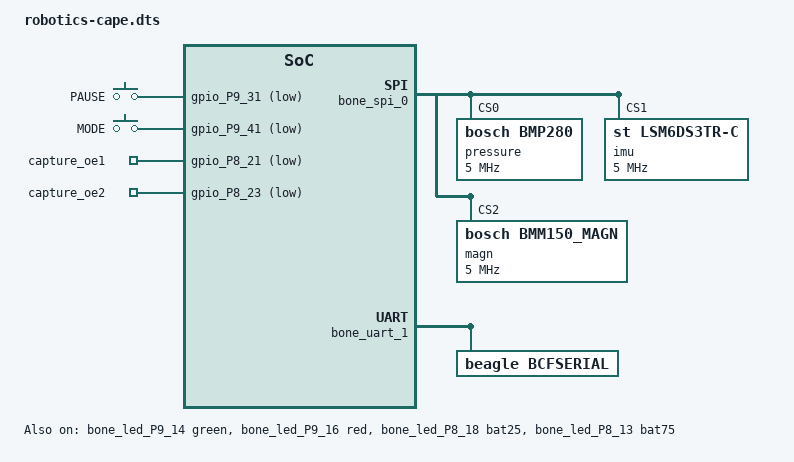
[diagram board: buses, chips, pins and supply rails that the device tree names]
// SPDX-License-Identifier: GPL-2.0
/*
 * Copyright (C) 2022 Jason Kridner, BeagleBoard.org Foundation
 */

/dts-v1/;
/plugin/;

#include <dt-bindings/gpio/gpio.h>
#include <dt-bindings/interrupt-controller/arm-gic.h>
#include <dt-bindings/interrupt-controller/irq.h>
#include <dt-bindings/pinctrl/k3.h>
#include <dt-bindings/board/k3-j721e-bone-pins.h>
#include <dt-bindings/soc/ti,sci_pm_domain.h>
#include <dt-bindings/input/linux-event-codes.h>

/*
 * Annotate in /proc/device-tree/chosen that this overlay is loaded
 */
&{/chosen} {
	overlays {
		BB-ROBOTICS-CAPE-00B0.kernel = __TIMESTAMP__;
	};
};

/*
 * Update the default pinmux of the pins.
 */
#define BONE_MUX(XX,YY) \
	&bone_##XX##_pinmux { pinctrl-0 = <&##XX##_##YY##_pin>; }

BONE_MUX(P8_03,gpio);		/* Motor1_SLP# */
BONE_MUX(P8_05,gpio);		/* Motor1_FAULT# */
BONE_MUX(P8_07,gpio);		/* Motor1_OC# */
BONE_MUX(P8_09,gpio);		/* Motor4_FAULT# */
BONE_MUX(P8_11,pruout);		/* Motor4_PWM */
BONE_MUX(P8_13,gpio);		/* LED4 */
BONE_MUX(P8_15,pruin);		/* Capture4 */
BONE_MUX(P8_17,gpio_pd);	/* Motor4_IN1 */
BONE_MUX(P8_19,gpio_pd);	/* Motor4_IN2 */
BONE_MUX(P8_21,gpio_pd);	/* CAP_OE#1 */
BONE_MUX(P8_23,gpio_pd);	/* CAP_OE#2 */
BONE_MUX(P8_25,pruin);		/* Ultrasonic1 */
BONE_MUX(P8_27,pruin);		/* Ultrasonic2 */
BONE_MUX(P8_29,uart);		/* Lidar_RX - UART8_TX */
BONE_MUX(P8_31,gpio);		/* Motor3_FAULT# */
BONE_MUX(P8_33,qep);		/* QEP2_B - EQEP1_B */
BONE_MUX(P8_35,qep);		/* QEP2_A - EQEP1_A */
BONE_MUX(P8_37,pruin);		/* Ultrasonic3 */
BONE_MUX(P8_39,pruin);		/* Ultrasonic4 */
BONE_MUX(P8_41,pruout);		/* Servo7 */
BONE_MUX(P8_43,pruout);		/* Servo8 */
BONE_MUX(P8_45,pruout);		/* Servo9 */

BONE_MUX(P8_04,pruout);		/* Motor1_PWM */
BONE_MUX(P8_06,gpio_pd);	/* Motor1_IN1 */
BONE_MUX(P8_08,gpio_pd);	/* Motor1_IN2 */
BONE_MUX(P8_10,gpio_pd);	/* Motor3_IN1 */
BONE_MUX(P8_12,pruout);		/* Motor3_PWM */
BONE_MUX(P8_14,pruout);		/* Servo2 */
BONE_MUX(P8_16,gpio_pd);	/* Motor3_IN */
BONE_MUX(P8_18,gpio);		/* LED3 */
BONE_MUX(P8_20,pruout);		/* Servo5 */
BONE_MUX(P8_22,uart);		/* BCF_SERIAL_TX - UART2_RX */
BONE_MUX(P8_24,pruout);		/* Lidar_PWM */
BONE_MUX(P8_26,pruout);		/* Servo6 */
BONE_MUX(P8_28,uart);		/* Lidar_TX - UART8_RX */
BONE_MUX(P8_30,gpio);		/* Lidar_OE */
BONE_MUX(P8_32,gpio);		/* BCF_RST */
BONE_MUX(P8_34,uart);		/* BCF_SERIAL_RX - UART2_TX */
BONE_MUX(P8_36,gpio);		/* 6DOF_INT */
BONE_MUX(P8_38,gpio_pd);	/* Motor2_IN1 */
BONE_MUX(P8_40,gpio_pd);	/* Motor2_IN2 */
BONE_MUX(P8_42,gpio);		/* Motor234_nSLEEP */
BONE_MUX(P8_44,gpio);		/* Magnetometer_INT */

BONE_MUX(P9_11,gpio);		/* Motor2_FAULT# */
BONE_MUX(P9_13,pruout);		/* Motor2_PWM */
BONE_MUX(P9_15,pruout);		/* Servo10 */
BONE_MUX(P9_17,spi);		/* Barometer_CS# - SPI6_CS0 */
BONE_MUX(P9_19,pruout);		/* Servo1 */
BONE_MUX(P9_21,spi);		/* SPI6_D0 - SDO */
BONE_MUX(P9_23,spi);		/* IMU_CS# - SPI6_CS1 */
BONE_MUX(P9_25,gpio);		/* Magnetometer_CS# */
BONE_MUX(P9_27,qep);		/* QEP1_B - EQEP0_B */
BONE_MUX(P9_29,pruin);		/* Capture3 */
BONE_MUX(P9_31,gpio);		/* USER_BUTTON1 - PAUSE */
BONE_MUX(P9_33,default);	/* Motor2_Current - AIN4 */
BONE_MUX(P9_35,default);	/* Motor3_Current - AIN6 */
BONE_MUX(P9_37,uart);		/* GPS_TXD */
BONE_MUX(P9_39,default);	/* Battery_Voltage - AIN0 */
BONE_MUX(P9_41,gpio);		/* USER_BUTTON2 - MODE */

BONE_MUX(P9_12,pruout);		/* Servo4 */
BONE_MUX(P9_14,gpio);		/* LED1 */
BONE_MUX(P9_16,gpio);		/* LED2 */
BONE_MUX(P9_18,spi);		/* SPI6_D1 - SDI */
BONE_MUX(P9_20,pruout);		/* Servo3 */
BONE_MUX(P9_22,spi);		/* SPI6_CLK */
BONE_MUX(P9_24,i2c);		/* EEPROM_I2C_SCL */
BONE_MUX(P9_26,i2c);		/* EEPROM_I2C_SDA */
BONE_MUX(P9_28,pruin);		/* Capture1 */
BONE_MUX(P9_30,pruin);		/* Capture2 */
BONE_MUX(P9_36,default);	/* Motor4_Current - AIN5 */
BONE_MUX(P9_38,uart);		/* GPS_RXD */
BONE_MUX(P9_40,default);	/* Motor1_Current - AIN1 */
BONE_MUX(P9_42,qep);		/* QEP1_A - EQEP0_A */

/*
 * Enable desired drivers
 */
&bone_key_P9_31 {
	status = "okay";
	label = "PAUSE";
	linux,code = <KEY_PAUSE>;
	gpios = <gpio_P9_31 GPIO_ACTIVE_LOW>;
};

&bone_key_P9_41 {
	status = "okay";
	label = "MODE";
	linux,code = <KEY_MODE>;
	gpios = <gpio_P9_41 GPIO_ACTIVE_LOW>;
};

&bone_led_P9_14 {
	status = "okay";
	label = "green";
	linux,default-trigger = "default-off";
};

&bone_led_P9_16 {
	status = "okay";
	label = "red";
	linux,default-trigger = "default-off";
};

&bone_led_P8_18 {
	status = "okay";
	label = "bat25";
	linux,default-trigger = "default-off";
};

&bone_led_P8_13 {
	status = "okay";
	label = "bat75";
	linux,default-trigger = "default-off";
};

&bone_led_P8_21 {
	status = "okay";
	label = "capture_oe1";
	linux,default-trigger = "default-off";
	gpios = <gpio_P8_21 GPIO_ACTIVE_LOW>;
};

&bone_led_P8_23 {
	status = "okay";
	label = "capture_oe2";
	linux,default-trigger = "default-on";
	gpios = <gpio_P8_23 GPIO_ACTIVE_LOW>;
};

&bone_spi_0 {
	ti,spi-num-cs = <3>;
	ti,pindir-d0-out-d1-in;
	cs-gpios = <0>, /* P9_17 */
		   <0>, /* P9_23 */
		   <gpio_P9_25 GPIO_ACTIVE_LOW>;

	#address-cells = <1>;
	#size-cells = <0>;

	pressure@0 {
		compatible = "bosch,bmp280";
		reg = <0>;	/* CE0 */
		spi-max-frequency = <5000000>;
	};

	imu@1 {
		compatible = "st,lsm6ds3tr-c";
		#address-cells = <1>;
		#size-cells = <0>;
		reg = <1>;	/* CE1 */
		spi-max-frequency = <5000000>;
	};

	magn@2 {
		compatible = "bosch,bmm150_magn";
		#address-cells = <1>;
		#size-cells = <0>;
		reg = <2>;	/* CE2 */
		spi-max-frequency = <5000000>;
	};
};

&cbass_main {
	#address-cells = <2>;
	#size-cells = <2>;

	/* TODO: the base for this should be in the board DT */
	eqep0: qep@3200000 {
		compatible = "ti,am3352-eqep";
		reg = <0 0x3200000 0 0x100>;
		power-domains = <&k3_pds 94 TI_SCI_PD_EXCLUSIVE>;
		clocks = <&k3_clks 94 0>;
		clock-names = "eqep0-ficlk";
		interrupt-parent = <&gic500>;
		interrupts = <GIC_SPI 322 IRQ_TYPE_EDGE_RISING>;
		interrupt-names = "eqep0";
		symlink = "bone/qep/0"; /* A - P9_42, B - P9_27 */

		count_mode = <0>;
		swap_input = <0>;
		invert_qa = <1>;
		invert_qb = <1>;
		invert_qi = <0>;
		invert_qs = <0>;
	};

	eqep1: qep@3210000 {
		compatible = "ti,am3352-eqep";
		reg = <0 0x3210000 0 0x100>;
		power-domains = <&k3_pds 95 TI_SCI_PD_EXCLUSIVE>;
		clocks = <&k3_clks 95 0>;
		clock-names = "eqep1-ficlk";
		interrupt-parent = <&gic500>;
		interrupts = <GIC_SPI 323 IRQ_TYPE_EDGE_RISING>;
		interrupt-names = "eqep1";
		symlink = "bone/qep/1"; /* A - P8_35, B - P8_33 */

		count_mode = <0>;
		swap_input = <0>;
		invert_qa = <1>;
		invert_qb = <1>;
		invert_qi = <0>;
		invert_qs = <0>;
	};

	eqep2: qep@3220000 {
		status = "disabled";
		compatible = "ti,am3352-eqep";
		reg = <0 0x3220000 0 0x100>;
		power-domains = <&k3_pds 96 TI_SCI_PD_EXCLUSIVE>;
		clocks = <&k3_clks 96 0>;
		clock-names = "eqep2-ficlk";
		interrupt-parent = <&gic500>;
		interrupts = <GIC_SPI 324 IRQ_TYPE_EDGE_RISING>;
		interrupt-names = "eqep2";

		count_mode = <0>;
		swap_input = <0>;
		invert_qa = <1>;
		invert_qb = <1>;
		invert_qi = <0>;
		invert_qs = <0>;
	};
};

/* TODO: this is not the standard bone/uart/1 pinout location */
&bone_uart_1 {
	status = "okay";

	bcfserial {
		compatible = "beagle,bcfserial";
	};
};

